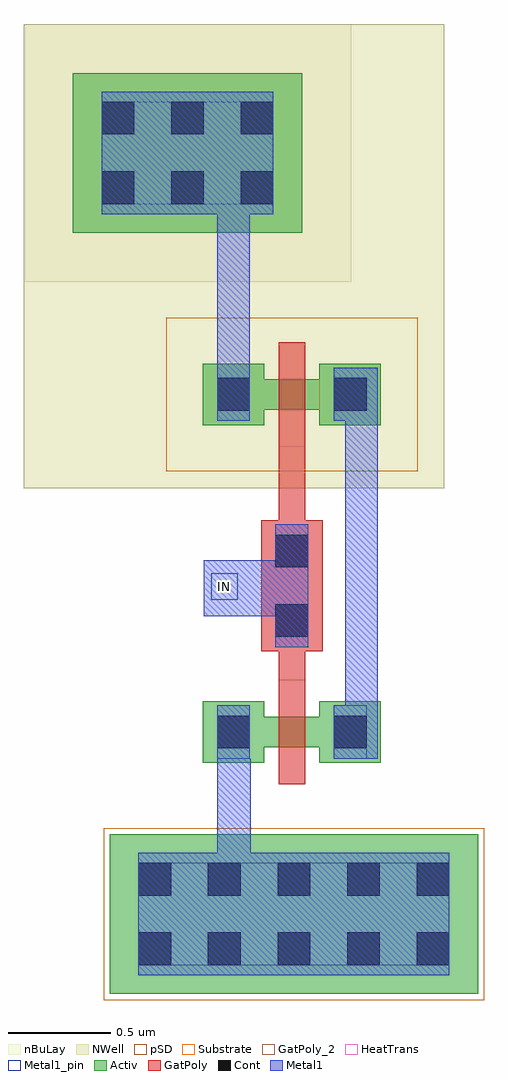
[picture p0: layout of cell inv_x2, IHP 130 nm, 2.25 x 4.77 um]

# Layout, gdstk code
import gdstk
lib = gdstk.Library(unit=1e-6, precision=1e-09)
def R(c, l, rs):  # rectangles x0, y0, x1, y1
    for r in rs: c.add(gdstk.rectangle(r[:2], r[2:], *l))
def A(c, l, x, y, w, h, nx, ny, dx, dy):  # array of equal rectangles
    R(c, l, [(x+i*dx, y+j*dy, x+i*dx+w, y+j*dy+h) for i in range(nx) for j in range(ny)])
Activ = (1, 0)
GatPoly = (5, 0)
GatPoly_2 = (5, 2)
Cont = (6, 0)
Metal1 = (8, 0)
Metal1_pin = (8, 2)
pSD = (14, 0)
NWell = (31, 0)
nBuLay = (32, 0)
Substrate = (40, 0)
HeatTrans = (51, 0)

via = lib.new_cell('Via')
R(via, GatPoly, [(-0.15,-0.32,0.15,0.32)])
R(via, Cont, [(-0.08,-0.25,0.08,-0.09), (-0.08,0.09,0.08,0.25)])
R(via, Metal1, [(-0.08,-0.3,0.08,0.3)])

nmos = lib.new_cell('nmos')
R(nmos, Activ, [(0,0,0.3,0.3), (0.57,0,0.87,0.3), (0,0.075,0.87,0.225)])
R(nmos, GatPoly, [(0.37,-0.105,0.5,0.405)])
R(nmos, GatPoly_2, [(0.37,-0.105,0.5,0.405)])
R(nmos, Cont, [(0.07,0.07,0.23,0.23), (0.64,0.07,0.8,0.23)])
R(nmos, Metal1, [(0.07,0.02,0.23,0.28), (0.64,0.02,0.8,0.28)])
R(nmos, Metal1_pin, [(0.07,0.02,0.23,0.28), (0.64,0.02,0.8,0.28)])
R(nmos, HeatTrans, [(0.37,-0.105,0.5,0.405)])
nmos.add(gdstk.Label('nmos', (0.435,0.15), layer=63, texttype=0))
nmos.add(gdstk.Label('nmos', (0.435,0.15), layer=51, texttype=0))

pmos = lib.new_cell('pmos')
R(pmos, Activ, [(0,0,0.3,0.3), (0.57,0,0.87,0.3), (0,0.075,0.87,0.225)])
R(pmos, GatPoly, [(0.37,-0.105,0.5,0.405), (0.37,-0.105,0.5,0.405)])
R(pmos, Cont, [(0.07,0.07,0.23,0.23), (0.64,0.07,0.8,0.23)])
R(pmos, Metal1, [(0.07,0.02,0.23,0.28), (0.07,0.02,0.23,0.28), (0.64,0.02,0.8,0.28), (0.64,0.02,0.8,0.28)])
R(pmos, pSD, [(-0.18,-0.225,1.05,0.525)])
R(pmos, NWell, [(-0.31,-0.31,1.18,0.61)])
R(pmos, Substrate, [(0.57,0,0.87,0.3)])
R(pmos, HeatTrans, [(0.37,-0.105,0.5,0.405)])
pmos.add(gdstk.Label('pmos', (0.435,0.15), layer=63, texttype=0))
pmos.add(gdstk.Label('pmos', (0.435,0.15), layer=51, texttype=0))

ptap = lib.new_cell('ptap')
R(ptap, Activ, [(-0.675,-1.065,0.105,-0.285)])
R(ptap, Cont, [(-0.535,-0.925,-0.375,-0.765), (-0.195,-0.925,-0.035,-0.765), (-0.535,-0.585,-0.375,-0.425), (-0.195,-0.585,-0.035,-0.425)])
R(ptap, Metal1, [(-0.535,-0.975,-0.035,-0.375)])
R(ptap, Metal1_pin, [(-0.535,-0.925,-0.035,-0.425)])
R(ptap, pSD, [(-0.705,-1.095,0.135,-0.255)])

ntap = lib.new_cell('ntap')
R(ntap, Activ, [(-0.845,-0.315,-0.065,0.465)])
R(ntap, Cont, [(-0.705,-0.175,-0.545,-0.015), (-0.365,-0.175,-0.205,-0.015), (-0.705,0.165,-0.545,0.325), (-0.365,0.165,-0.205,0.325)])
R(ntap, Metal1, [(-0.705,-0.225,-0.205,0.375)])
R(ntap, Metal1_pin, [(-0.705,-0.175,-0.205,0.325)])
R(ntap, NWell, [(-1.085,-0.555,0.175,0.705)])
R(ntap, nBuLay, [(-1.085,-0.555,0.175,0.705)])

inv_x2 = lib.new_cell('inv_x2')
A(inv_x2, Activ, -0.72, -2.47, 0.78, 0.78, 3, 1, 0.34, 0)
R(inv_x2, Activ, [(-0.9,1.25,-0.12,2.03)])
R(inv_x2, GatPoly, [(-0.235,-0.935,-0.105,-0.735), (-0.235,-0.155,-0.105,0.205)])
R(inv_x2, Cont, [(-0.58,-2.33,-0.42,-2.17), (-0.24,-2.33,-0.08,-2.17), (-0.24,-2.33,-0.08,-2.17), (0.1,-2.33,0.26,-2.17), (0.1,-2.33,0.26,-2.17), (0.44,-2.33,0.6,-2.17), (-0.58,-1.99,-0.42,-1.83), (-0.24,-1.99,-0.08,-1.83), (-0.24,-1.99,-0.08,-1.83), (0.1,-1.99,0.26,-1.83), (0.1,-1.99,0.26,-1.83), (0.44,-1.99,0.6,-1.83), (-0.76,1.39,-0.6,1.55), (-0.42,1.39,-0.26,1.55), (-0.76,1.73,-0.6,1.89), (-0.42,1.73,-0.26,1.89)])
A(inv_x2, Metal1, -0.58, -2.38, 0.5, 0.6, 3, 1, 0.34, 0)
R(inv_x2, Metal1, [(-0.535,-1.885,-0.37,-1.32), (0.09,-1.32,0.25,0.59), (-0.6,-0.625,-0.25,-0.35), (-0.535,0.59,-0.375,1.58), (-0.76,1.34,-0.26,1.94)])
A(inv_x2, Metal1_pin, -0.58, -2.33, 0.5, 0.5, 3, 1, 0.34, 0)
R(inv_x2, Metal1_pin, [(-0.565,-0.545,-0.435,-0.415), (-0.76,1.39,-0.26,1.89)])
A(inv_x2, pSD, -0.75, -2.5, 0.84, 0.84, 3, 1, 0.34, 0)
R(inv_x2, NWell, [(-1.48,0,0.575,2.27), (-1.14,1.01,0.12,2.27)])
R(inv_x2, nBuLay, [(-1.14,1.01,0.12,2.27)])
inv_x2.add(gdstk.Reference(via, (-0.17,-0.475)))
inv_x2.add(gdstk.Reference(nmos, (-0.605,-1.34)))
inv_x2.add(gdstk.Reference(pmos, (-0.605,0.31)))
inv_x2.add(gdstk.Reference(ptap, (-0.385,-1.405)))
inv_x2.add(gdstk.Reference(ntap, (-0.395,1.565)))
inv_x2.add(gdstk.Label('IN', (-0.5,-0.48), layer=8, texttype=25))

lib.write_gds('inv_x2.gds')
